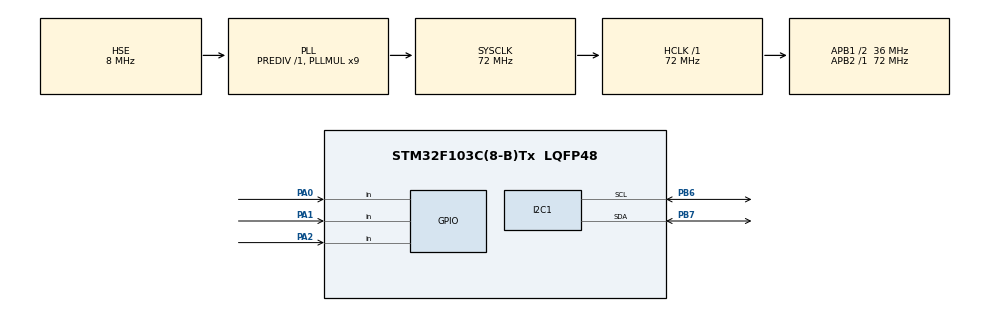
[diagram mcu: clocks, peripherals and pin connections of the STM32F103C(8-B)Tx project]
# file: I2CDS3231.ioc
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Mcu.Family=STM32F1
Mcu.Name=STM32F103C(8-B)Tx
Mcu.Package=LQFP48
NVIC.PriorityGroup=NVIC_PRIORITYGROUP_4
PA0-WKUP.GPIO_PuPd=GPIO_PULLUP
PA0-WKUP.Signal=GPIO_Input
PA1.GPIO_PuPd=GPIO_PULLUP
PA1.Signal=GPIO_Input
PA13.Mode=Serial_Wire
PA13.Signal=SYS_JTMS-SWDIO
PA14.Mode=Serial_Wire
PA14.Signal=SYS_JTCK-SWCLK
PA2.GPIO_PuPd=GPIO_PULLUP
PA2.Signal=GPIO_Input
PB6.Mode=I2C
PB6.Signal=I2C1_SCL
PB7.Mode=I2C
PB7.Signal=I2C1_SDA
PD0-OSC_IN.Mode=HSE-External-Oscillator
PD0-OSC_IN.Signal=RCC_OSC_IN
PD1-OSC_OUT.Mode=HSE-External-Oscillator
PD1-OSC_OUT.Signal=RCC_OSC_OUT
ProjectManager.HeapSize=0x200
ProjectManager.StackSize=0x400
ProjectManager.TargetToolchain=MDK-ARM V5.32
RCC.AHBFreq_Value=72000000
RCC.APB1CLKDivider=RCC_HCLK_DIV2
RCC.APB1Freq_Value=36000000
RCC.APB1TimFreq_Value=72000000
RCC.APB2Freq_Value=72000000
RCC.APB2TimFreq_Value=72000000
RCC.HCLKFreq_Value=72000000
RCC.PLLMUL=RCC_PLL_MUL9
RCC.PLLSourceVirtual=RCC_PLLSOURCE_HSE
RCC.SYSCLKFreq_VALUE=72000000
RCC.SYSCLKSource=RCC_SYSCLKSOURCE_PLLCLK
RCC.USBFreq_Value=72000000
board=custom

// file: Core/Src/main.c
/* USER CODE BEGIN Header */
/**
  ******************************************************************************
  * @file           : main.c
  * @brief          : Main program body
  ******************************************************************************
  * @attention
  *
  * Copyright (c) 2023 STMicroelectronics.
  * All rights reserved.
  *
  * This software is licensed under terms that can be found in the LICENSE file
  * in the root directory of this software component.
  * If no LICENSE file comes with this software, it is provided AS-IS.
  *
  ******************************************************************************
  */
/* USER CODE END Header */
#include "main.h"

/* USER CODE BEGIN Includes */
#include "RTC_DS3231.h"
#include "LiquidCrystal_I2C.h"
#include "button.h"
/* USER CODE END Includes */

I2C_HandleTypeDef hi2c1;

/* USER CODE BEGIN PV */
LiquidCrystal_I2C hlcd;
RTC_Typedef hrtc1;
Button_Typedef button1;
Button_Typedef button2;
Button_Typedef button3;
/* USER CODE END PV */

void SystemClock_Config(void);
static void MX_GPIO_Init(void);
static void MX_I2C1_Init(void);

/* USER CODE BEGIN 0 */
uint8_t flag_button = 0;
uint32_t get_time = 0;
DATETIME time_setup;
typedef enum
{
	STATE_IDOL,
	SET_SECOND,
	SET_MIN,
	SET_HOUR,
	SET_DATE,
	SET_MONTH,
	SET_YEAR,
	SET_COMPLETE,
	SET_EXIST,
}SET_DATE_TIME;
SET_DATE_TIME set_dt;
void btn_press_timeout_callback(Button_Typedef *ButtonX)
{
	if(ButtonX == &button1)
	{
		set_dt = STATE_IDOL;
	}
}
void	btn_pressing_callback(Button_Typedef *ButtonX)
{
			if(ButtonX == &button1)
			{
				switch(set_dt)
				{
					case STATE_IDOL:
						set_dt = SET_SECOND;
					break;
					case SET_SECOND:
						set_dt = SET_MIN;
					break;
					case SET_MIN:
						set_dt = SET_HOUR;
					break;
					case SET_HOUR:
						set_dt = SET_DATE;
					break;
					case SET_DATE:
						set_dt = SET_MONTH;
					break;
					case SET_MONTH:
						set_dt = SET_YEAR;
					break;
					case SET_YEAR:
						set_dt = SET_COMPLETE;
					break;
					case SET_COMPLETE:
						set_dt = STATE_IDOL;
					default:
						break;
				}
			}
			else if(ButtonX == &button2)
			{
				flag_button = 1;

			}
			else if(ButtonX == &button3)
			{
				flag_button = 2;
			}
}
void lcd_state_idol()
{
	lcd_set_cursor(&hlcd,0,0);
	lcd_printf(&hlcd,"DATE: %02d/%02d/%02d  ",hrtc1.date_time.date,hrtc1.date_time.month,hrtc1.date_time.year);
	lcd_set_cursor(&hlcd,1,0);
	lcd_printf(&hlcd,"TIME: %02d:%02d:%02d  ",hrtc1.date_time.hour,hrtc1.date_time.min,hrtc1.date_time.second);
}
void lcd_set_second()
{
	if(flag_button == 1)
	{
		if(time_setup.second == 59) time_setup.second = 0;
		else
		{
			time_setup.second = time_setup.second + 1;
		}
		flag_button = 0;
	}
	if(flag_button == 2)
	{
		if(time_setup.second == 0) time_setup.second = 59;
		else
		{
			time_setup.second = time_setup.second - 1;
		}
		flag_button = 0;
	}
	lcd_set_cursor(&hlcd,0,0);
	lcd_printf(&hlcd,"_CAP NHAT GIAY_");
	lcd_set_cursor(&hlcd,1,0);
	lcd_printf(&hlcd,"   GIAY: %02d   ",time_setup.second);
}
void lcd_set_minus()
{
	if(flag_button == 1)
	{
		if(time_setup.min == 59) time_setup.min = 0;
		else
		{
			time_setup.min = time_setup.min + 1;
		}
		flag_button = 0;
	}
	if(flag_button == 2)
	{
		if(time_setup.min == 0) time_setup.min = 59;
		else
		{
			time_setup.min = time_setup.min - 1;
		}
		flag_button = 0;
	}
	lcd_set_cursor(&hlcd,0,0);
	lcd_printf(&hlcd,"_CAP NHAT PHUT_");
	lcd_set_cursor(&hlcd,1,0);
	lcd_printf(&hlcd,"   PHUT: %02d   ",time_setup.min);
}
void lcd_set_hour()
{
	if(flag_button == 1)
	{
		if(time_setup.hour == 23) time_setup.hour = 0;
		else
		{
			time_setup.hour = time_setup.hour + 1;
		}
		flag_button = 0;
	}
	if(flag_button == 2)
	{
		if(time_setup.hour == 0) time_setup.hour = 23;
		else
		{
			time_setup.hour = time_setup.hour - 1;
		}
		flag_button = 0;
	}
	lcd_set_cursor(&hlcd,0,0);
	lcd_printf(&hlcd,"_CAP NHAT GIO_ ");
	lcd_set_cursor(&hlcd,1,0);
	lcd_printf(&hlcd,"    GIO: %02d   ",time_setup.hour);
}
void lcd_set_date()
{
	if(flag_button == 1)
	{
		if(time_setup.date == 31) time_setup.date = 1;
		else
		{
			time_setup.date = time_setup.date + 1;
		}
		flag_button = 0;
	}
	if(flag_button == 2)
	{
		if(time_setup.date == 1) time_setup.date = 31;
		else
		{
			time_setup.date = time_setup.date - 1;
		}
		flag_button = 0;
	}
	lcd_set_cursor(&hlcd,0,0);
	lcd_printf(&hlcd,"_CAP NHAT NGAY_");
	lcd_set_cursor(&hlcd,1,0);
	lcd_printf(&hlcd,"   DATE: %02d   ",time_setup.date);
}
void lcd_set_month()
{
	if(flag_button == 1)
	{
		if(time_setup.month == 12) time_setup.month = 1;
		else
		{
			time_setup.month = time_setup.month + 1;
		}
		flag_button = 0;
	}
	if(flag_button == 2)
	{
		if(time_setup.month == 1) time_setup.month = 12;
		else
		{
			time_setup.month = time_setup.month - 1;
		}
		flag_button = 0;
	}
	lcd_set_cursor(&hlcd,0,0);
	lcd_printf(&hlcd,"CAP NHAT THANG ");
	lcd_set_cursor(&hlcd,1,0);
	lcd_printf(&hlcd,"  THANG: %02d   ",time_setup.month);
}
void lcd_set_year()
{
	if(flag_button == 1)
	{
		if(time_setup.year == 99) time_setup.year = 0;
		else
		{
			time_setup.year = time_setup.year + 1;
		}
		flag_button = 0;
	}
	if(flag_button == 2)
	{
		if(time_setup.year == 0) time_setup.year = 99;
		else
		{
			time_setup.year = time_setup.year - 1;
		}
		flag_button = 0;
	}
	lcd_set_cursor(&hlcd,0,0);
	lcd_printf(&hlcd,"_CAP NHAT NAM_  ");
	lcd_set_cursor(&hlcd,1,0);
	lcd_printf(&hlcd,"   NAM: %02d    ",time_setup.year);
}
void lcd_complete()
{
	RTC_WriteTime(&hrtc1,&time_setup);
	lcd_set_cursor(&hlcd,0,0);
	lcd_printf(&hlcd,".....UPDATE.....");
	lcd_set_cursor(&hlcd,1,0);
	lcd_printf(&hlcd,"UPDATE_SUCESSFUL");
}
void LCD_Handle()
{
			switch(set_dt)
		{
			case STATE_IDOL:
				lcd_state_idol();
				break;
			case SET_SECOND:
				lcd_set_second();
				break;
			case SET_MIN:
				lcd_set_minus();
				break;
			case SET_HOUR:
				lcd_set_hour();
				break;
			case SET_DATE:
				lcd_set_date();
				break;
			case SET_MONTH:
				lcd_set_month();
				break;
			case SET_YEAR:
				lcd_set_year();
				break;
			case SET_COMPLETE:
				lcd_complete();
				break;
		}
}
/* USER CODE END 0 */

int main(void)
{

  /* MCU Configuration--------------------------------------------------------*/

  /* Reset of all peripherals, Initializes the Flash interface and the Systick. */
  HAL_Init();

  /* Configure the system clock */
  SystemClock_Config();

  /* Initialize all configured peripherals */
  MX_GPIO_Init();
  MX_I2C1_Init();
  /* USER CODE BEGIN 2 */
	lcd_init(&hlcd,&hi2c1,LCD_ADDR_DEFAULT);
	RTC_Init(&hrtc1,&hi2c1);
	button_init(&button1,GPIOA,GPIO_PIN_0);
	button_init(&button2,GPIOA,GPIO_PIN_1);
	button_init(&button3,GPIOA,GPIO_PIN_2);
	// khoi tao gia tri bo dem thoi gian o lan dau tien
//		hrtc1.date_time.second = 10;
//		hrtc1.date_time.min = 10;
//		hrtc1.date_time.hour = 8;
//		hrtc1.date_time.day = 3;
//		hrtc1.date_time.date = 12;
//		hrtc1.date_time.month = 9;
//		hrtc1.date_time.year= 23;
//		RTC_WriteTime(&hrtc1,&hrtc1.date_time);
		set_dt = STATE_IDOL;
  /* USER CODE END 2 */
  /* Infinite loop */
  while (1)
  {

    /* USER CODE BEGIN 3 */
		if(HAL_GetTick() - get_time >= 1000)
		{
			RTC_ReadTime(&hrtc1,&hrtc1.date_time);
			get_time = HAL_GetTick();
		}
		LCD_Handle();
		button_handle(&button1);
		button_handle(&button2);
		button_handle(&button3);
  }
  /* USER CODE END 3 */
}

void SystemClock_Config(void)
{
  RCC_OscInitTypeDef RCC_OscInitStruct = {0};
  RCC_ClkInitTypeDef RCC_ClkInitStruct = {0};

  /** Initializes the RCC Oscillators according to the specified parameters
  * in the RCC_OscInitTypeDef structure.
  */
  RCC_OscInitStruct.OscillatorType = RCC_OSCILLATORTYPE_HSE;
  RCC_OscInitStruct.HSEState = RCC_HSE_ON;
  RCC_OscInitStruct.HSEPredivValue = RCC_HSE_PREDIV_DIV1;
  RCC_OscInitStruct.HSIState = RCC_HSI_ON;
  RCC_OscInitStruct.PLL.PLLState = RCC_PLL_ON;
  RCC_OscInitStruct.PLL.PLLSource = RCC_PLLSOURCE_HSE;
  RCC_OscInitStruct.PLL.PLLMUL = RCC_PLL_MUL9;
  if (HAL_RCC_OscConfig(&RCC_OscInitStruct) != HAL_OK)
  {
    Error_Handler();
  }

  /** Initializes the CPU, AHB and APB buses clocks
  */
  RCC_ClkInitStruct.ClockType = RCC_CLOCKTYPE_HCLK|RCC_CLOCKTYPE_SYSCLK
                              |RCC_CLOCKTYPE_PCLK1|RCC_CLOCKTYPE_PCLK2;
  RCC_ClkInitStruct.SYSCLKSource = RCC_SYSCLKSOURCE_PLLCLK;
  RCC_ClkInitStruct.AHBCLKDivider = RCC_SYSCLK_DIV1;
  RCC_ClkInitStruct.APB1CLKDivider = RCC_HCLK_DIV2;
  RCC_ClkInitStruct.APB2CLKDivider = RCC_HCLK_DIV1;

  if (HAL_RCC_ClockConfig(&RCC_ClkInitStruct, FLASH_LATENCY_2) != HAL_OK)
  {
    Error_Handler();
  }
}

static void MX_I2C1_Init(void)
{

  hi2c1.Instance = I2C1;
  hi2c1.Init.ClockSpeed = 100000;
  hi2c1.Init.DutyCycle = I2C_DUTYCYCLE_2;
  hi2c1.Init.OwnAddress1 = 0;
  hi2c1.Init.AddressingMode = I2C_ADDRESSINGMODE_7BIT;
  hi2c1.Init.DualAddressMode = I2C_DUALADDRESS_DISABLE;
  hi2c1.Init.OwnAddress2 = 0;
  hi2c1.Init.GeneralCallMode = I2C_GENERALCALL_DISABLE;
  hi2c1.Init.NoStretchMode = I2C_NOSTRETCH_DISABLE;
  if (HAL_I2C_Init(&hi2c1) != HAL_OK)
  {
    Error_Handler();
  }

}

static void MX_GPIO_Init(void)
{
  GPIO_InitTypeDef GPIO_InitStruct = {0};

  /* GPIO Ports Clock Enable */
  __HAL_RCC_GPIOD_CLK_ENABLE();
  __HAL_RCC_GPIOA_CLK_ENABLE();
  __HAL_RCC_GPIOB_CLK_ENABLE();

  /*Configure GPIO pins : PA0 PA1 PA2 */
  GPIO_InitStruct.Pin = GPIO_PIN_0|GPIO_PIN_1|GPIO_PIN_2;
  GPIO_InitStruct.Mode = GPIO_MODE_INPUT;
  GPIO_InitStruct.Pull = GPIO_PULLUP;
  HAL_GPIO_Init(GPIOA, &GPIO_InitStruct);

}

void Error_Handler(void)
{
  __disable_irq();
  while (1)
  {
  }
}
